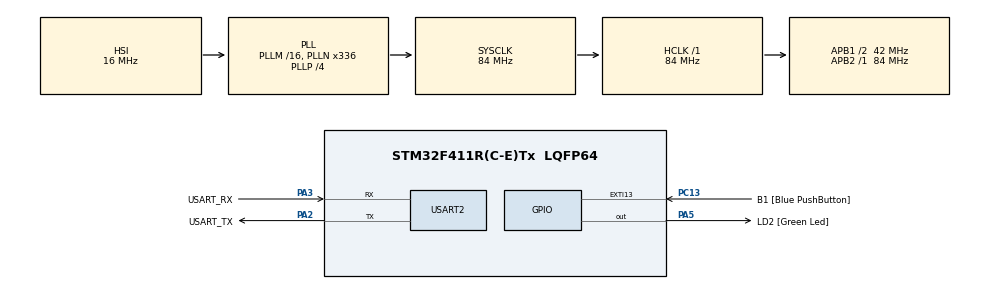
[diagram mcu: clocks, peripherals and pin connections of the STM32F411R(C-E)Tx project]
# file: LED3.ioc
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Mcu.Family=STM32F4
Mcu.Name=STM32F411R(C-E)Tx
Mcu.Package=LQFP64
NVIC.PriorityGroup=NVIC_PRIORITYGROUP_0
PA13.GPIO_Label=TMS
PA13.Mode=Serial_Wire
PA13.Signal=SYS_JTMS-SWDIO
PA14.GPIO_Label=TCK
PA14.Mode=Serial_Wire
PA14.Signal=SYS_JTCK-SWCLK
PA2.GPIO_Label=USART_TX
PA2.Mode=Asynchronous
PA2.Signal=USART2_TX
PA3.GPIO_Label=USART_RX
PA3.Mode=Asynchronous
PA3.Signal=USART2_RX
PA5.GPIO_Label=LD2 [Green Led]
PA5.Signal=GPIO_Output
PB3.GPIO_Label=SWO
PB3.Signal=SYS_JTDO-SWO
PC13-ANTI_TAMP.GPIO_Label=B1 [Blue PushButton]
PC13-ANTI_TAMP.GPIO_ModeDefaultEXTI=GPIO_MODE_IT_FALLING
PC13-ANTI_TAMP.Signal=GPXTI13
PC14-OSC32_IN.Mode=LSE-External-Oscillator
PC14-OSC32_IN.Signal=RCC_OSC32_IN
PC15-OSC32_OUT.Mode=LSE-External-Oscillator
PC15-OSC32_OUT.Signal=RCC_OSC32_OUT
PH0\ -\ OSC_IN.Mode=HSE-External-Clock-Source
PH0\ -\ OSC_IN.Signal=RCC_OSC_IN
PH1\ -\ OSC_OUT.Mode=HSE-External-Clock-Source
PH1\ -\ OSC_OUT.Signal=RCC_OSC_OUT
ProjectManager.HeapSize=0x200
ProjectManager.StackSize=0x400
ProjectManager.TargetToolchain=STM32CubeIDE
RCC.48MHZClocksFreq_Value=84000000
RCC.AHBFreq_Value=84000000
RCC.APB1CLKDivider=RCC_HCLK_DIV2
RCC.APB1Freq_Value=42000000
RCC.APB1TimFreq_Value=84000000
RCC.APB2Freq_Value=84000000
RCC.APB2TimFreq_Value=84000000
RCC.CortexFreq_Value=84000000
RCC.FLatency-AdvancedSettings=FLASH_LATENCY_2
RCC.HCLKFreq_Value=84000000
RCC.HSE_VALUE=8000000
RCC.HSI_VALUE=16000000
RCC.PLLN=336
RCC.PLLP=RCC_PLLP_DIV4
RCC.SYSCLKFreq_VALUE=84000000
RCC.SYSCLKSource=RCC_SYSCLKSOURCE_PLLCLK
RCC.VCOOutputFreq_Value=336000000
USART2.VirtualMode=VM_ASYNC
board=NUCLEO-F411RE

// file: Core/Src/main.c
/* USER CODE BEGIN Header */
/**
  ******************************************************************************
  * @file           : main.c
  * @brief          : Main program body
  ******************************************************************************
  * @attention
  *
  * <h2><center>&copy; Copyright (c) 2020 STMicroelectronics.
  * All rights reserved.</center></h2>
  *
  * This software component is licensed by ST under BSD 3-Clause license,
  * the "License"; You may not use this file except in compliance with the
  * License. You may obtain a copy of the License at:
  *                        opensource.org/licenses/BSD-3-Clause
  *
  ******************************************************************************
  */
/* USER CODE END Header */
#include "main.h"

UART_HandleTypeDef huart2;

void SystemClock_Config(void);
static void MX_GPIO_Init(void);
static void MX_USART2_UART_Init(void);

/* USER CODE BEGIN 0 */

#define timer_freq 84.0  //timer clock freq in MHz
#define T0H 0.5  //each different clone can have their own timings
#define T1H 1.2  //timing here are in us
#define T0L 2.0
#define T1L 1.3
#define Treset 50

uint8_t LED_data[180]; //I have strip with 60 LEDs and need 3 bytes/LED

uint16_t pos;
uint8_t mask = 0B10000000;
uint8_t lastbit;

long double period;
uint16_t low_CCR1, low_ARR, high_CCR1, high_ARR, treset_ARR;

/* USER CODE END 0 */

int main(void)
{

  /* MCU Configuration--------------------------------------------------------*/

  /* Reset of all peripherals, Initializes the Flash interface and the Systick. */
  HAL_Init();

  /* Configure the system clock */
  SystemClock_Config();

  /* Initialize all configured peripherals */
  MX_GPIO_Init();
  MX_USART2_UART_Init();
  /* USER CODE BEGIN 2 */

  Neopixel_setup(); //setup the neopixels

  /* USER CODE END 2 */

  /* Infinite loop */
  /* USER CODE BEGIN WHILE */
  while (1)
  {
	  //fill the array with repeate pattern of Green-Red-Blue
	  for (uint8_t i = 0; i < 180; i+=9){
		  LED_data[i] = 0;  //use low values so that it does blind the camera
		  LED_data[i+4] = 0;
		  LED_data[i+8] = 25;
	  }

	  show_neopixels();  //transmit the data to the neopixel strip.

	  HAL_Delay(1000);

	  //fill the array with repeate pattern of Green-Red-Blue
	  for (uint8_t i = 0; i < 180; i+=9){
		  LED_data[i] = 25;  //use low values so that it does blind the camera
		  LED_data[i+4] = 25;
		  LED_data[i+8] = 25;
	  }

	  show_neopixels();  //transmit the data to the neopixel strip.

	  HAL_Delay(1000);

    /* USER CODE END WHILE */

  }
}

void SystemClock_Config(void)
{
  RCC_OscInitTypeDef RCC_OscInitStruct = {0};
  RCC_ClkInitTypeDef RCC_ClkInitStruct = {0};

  /** Configure the main internal regulator output voltage
  */
  __HAL_RCC_PWR_CLK_ENABLE();
  __HAL_PWR_VOLTAGESCALING_CONFIG(PWR_REGULATOR_VOLTAGE_SCALE1);
  /** Initializes the RCC Oscillators according to the specified parameters
  * in the RCC_OscInitTypeDef structure.
  */
  RCC_OscInitStruct.OscillatorType = RCC_OSCILLATORTYPE_HSI;
  RCC_OscInitStruct.HSIState = RCC_HSI_ON;
  RCC_OscInitStruct.HSICalibrationValue = RCC_HSICALIBRATION_DEFAULT;
  RCC_OscInitStruct.PLL.PLLState = RCC_PLL_ON;
  RCC_OscInitStruct.PLL.PLLSource = RCC_PLLSOURCE_HSI;
  RCC_OscInitStruct.PLL.PLLM = 16;
  RCC_OscInitStruct.PLL.PLLN = 336;
  RCC_OscInitStruct.PLL.PLLP = RCC_PLLP_DIV4;
  RCC_OscInitStruct.PLL.PLLQ = 4;
  if (HAL_RCC_OscConfig(&RCC_OscInitStruct) != HAL_OK)
  {
    Error_Handler();
  }
  /** Initializes the CPU, AHB and APB buses clocks
  */
  RCC_ClkInitStruct.ClockType = RCC_CLOCKTYPE_HCLK|RCC_CLOCKTYPE_SYSCLK
                              |RCC_CLOCKTYPE_PCLK1|RCC_CLOCKTYPE_PCLK2;
  RCC_ClkInitStruct.SYSCLKSource = RCC_SYSCLKSOURCE_PLLCLK;
  RCC_ClkInitStruct.AHBCLKDivider = RCC_SYSCLK_DIV1;
  RCC_ClkInitStruct.APB1CLKDivider = RCC_HCLK_DIV2;
  RCC_ClkInitStruct.APB2CLKDivider = RCC_HCLK_DIV1;

  if (HAL_RCC_ClockConfig(&RCC_ClkInitStruct, FLASH_LATENCY_2) != HAL_OK)
  {
    Error_Handler();
  }
}

static void MX_USART2_UART_Init(void)
{

  huart2.Instance = USART2;
  huart2.Init.BaudRate = 115200;
  huart2.Init.WordLength = UART_WORDLENGTH_8B;
  huart2.Init.StopBits = UART_STOPBITS_1;
  huart2.Init.Parity = UART_PARITY_NONE;
  huart2.Init.Mode = UART_MODE_TX_RX;
  huart2.Init.HwFlowCtl = UART_HWCONTROL_NONE;
  huart2.Init.OverSampling = UART_OVERSAMPLING_16;
  if (HAL_UART_Init(&huart2) != HAL_OK)
  {
    Error_Handler();
  }

}

static void MX_GPIO_Init(void)
{
  GPIO_InitTypeDef GPIO_InitStruct = {0};

  /* GPIO Ports Clock Enable */
  __HAL_RCC_GPIOC_CLK_ENABLE();
  __HAL_RCC_GPIOH_CLK_ENABLE();
  __HAL_RCC_GPIOA_CLK_ENABLE();
  __HAL_RCC_GPIOB_CLK_ENABLE();

  /*Configure GPIO pin Output Level */
  HAL_GPIO_WritePin(LD2_GPIO_Port, LD2_Pin, GPIO_PIN_RESET);

  /*Configure GPIO pin : B1_Pin */
  GPIO_InitStruct.Pin = B1_Pin;
  GPIO_InitStruct.Mode = GPIO_MODE_IT_FALLING;
  GPIO_InitStruct.Pull = GPIO_NOPULL;
  HAL_GPIO_Init(B1_GPIO_Port, &GPIO_InitStruct);

  /*Configure GPIO pin : LD2_Pin */
  GPIO_InitStruct.Pin = LD2_Pin;
  GPIO_InitStruct.Mode = GPIO_MODE_OUTPUT_PP;
  GPIO_InitStruct.Pull = GPIO_NOPULL;
  GPIO_InitStruct.Speed = GPIO_SPEED_FREQ_LOW;
  HAL_GPIO_Init(LD2_GPIO_Port, &GPIO_InitStruct);

}

/* USER CODE BEGIN 4 */
void show_neopixels(){
	pos = 0; //set the interupt to start at first byte
	lastbit = 0;
	mask = 0B10000000; //set the interupt to start at second bit

	TIM4->SR &= ~TIM_SR_UIF; // clear UIF flag
	TIM4->DIER |= TIM_DIER_UIE; //enable interupt flag to be generated to start transmission
}

uint8_t neopoxel_transmitting(){
	return (TIM4->DIER & TIM_DIER_UIE) && 1;
}

void TIM4_IRQHandler(void){

	TIM4->SR &= ~TIM_SR_UIF; // clear UIF flag

		if(pos<sizeof(LED_data)){
			if(LED_data[pos] & mask){
				TIM4->CCR1 = high_CCR1;
				TIM4->ARR = high_ARR;
			}else{
				TIM4->CCR1 = low_CCR1;
				TIM4->ARR = low_ARR;
			}
			if(mask==1){
				mask = 0B10000000;
				pos+=1;
			}else mask = mask >> 1;
		}else{
			TIM4->CCR1 = 0; //set to zero so that pin stays low
			TIM4->ARR = treset_ARR; //set to timing for reset LEDs
			TIM4->DIER &= ~TIM_DIER_UIE; //disable interrupt flag to end transmission.
		}
}
/* USER CODE END 4 */

void Error_Handler(void)
{
}

/************************ (C) COPYRIGHT STMicroelectronics *****END OF FILE****/

void Neopixel_setup(void){

	//calculate all the timings.
	period = 1 / timer_freq;
	low_CCR1 = round(T0H / period);
	low_ARR = round((T0H + T0L) / period);
	high_CCR1 = round(T1H / period);
	high_ARR = round((T1H + T1L) / period);
	treset_ARR = ceil(Treset / period);

	RCC->AHB1ENR |= RCC_AHB1ENR_GPIOBEN; //enable port D clock
	GPIOB->MODER |= GPIO_MODER_MODER6_1; //setup pin 6 on port d to AF mode
	GPIOB->AFR[1] = (GPIOB->AFR[1] & (0b1111<<(4*(12-8))) | 0b0010<<(4*(12-8))); //setup pin 12 on port D to AF timer 2-5

	RCC->APB1ENR |= RCC_APB1ENR_TIM4EN; //enable the timer4 clock
	TIM4->PSC = 0;   //set prescale to zero as timer has to go as fast as posible
	TIM4->CCMR1 = (TIM4->CCMR1 & ~(0b110<<4)) | (0b110<<4); //set PWM mode 110
	TIM4->CCR1 = 0; //set to zero so that the pin stay low until transmission
	TIM4->ARR = treset_ARR; //set to timing for reset LEDs
	TIM4->CCER |= TIM_CCER_CC1E; //enable output to pin.
	TIM4->CR1 |= TIM_CR1_CEN; //Disable channel 1. This bit is used to start and stop transmission.
	TIM4->CR1 |= TIM_CR1_ARPE; //buffer ARR
	TIM4->CCMR1 |= TIM_CCMR1_OC1PE; //buffer CCR1
	TIM4->DIER &= ~TIM_DIER_UIE; // ensure we are not enabling interrupt flag to be generated this bit is used to start/stop transmission
	TIM4->CR1 |= TIM_CR1_CEN; //enable channel 1.

	NVIC_EnableIRQ(TIM4_IRQn); // Enable interrupt(NVIC level)
}
